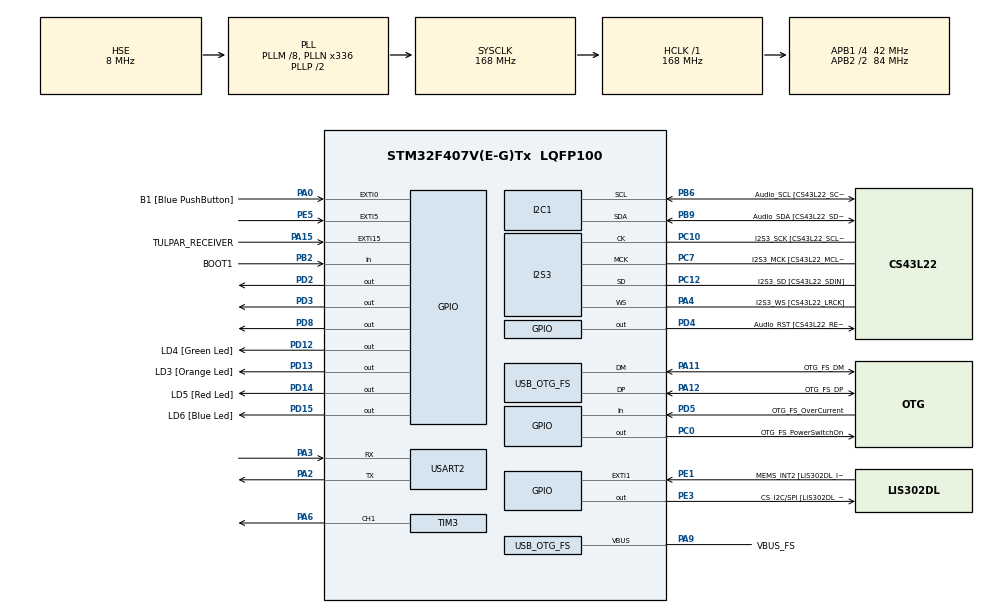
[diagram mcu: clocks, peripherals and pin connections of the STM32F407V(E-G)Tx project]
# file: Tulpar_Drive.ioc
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I2S3.AudioFreq-Half_Duplex_Master=I2S_AUDIOFREQ_96K
I2S3.ErrorAudioFreq=-2.34 %
I2S3.ErrorAudioFreq-Half_Duplex_Master=0.8 %
I2S3.FullDuplexMode=I2S_FULLDUPLEXMODE_DISABLE
I2S3.Instance=SPI$Index
I2S3.RealAudioFreq=93.75 KHz
I2S3.RealAudioFreq-Half_Duplex_Master=96.774 KHz
I2S3.VirtualMode=I2S_MODE_MASTER
Mcu.Family=STM32F4
Mcu.Name=STM32F407V(E-G)Tx
Mcu.Package=LQFP100
NVIC.EXTI15_10_IRQn=true\:0\:0\:false\:false\:true\:true\:true\:true
NVIC.EXTI9_5_IRQn=true\:0\:0\:false\:false\:true\:true\:true\:true
NVIC.OTG_FS_IRQn=true\:0\:0\:false\:false\:true\:true\:true\:true
NVIC.PriorityGroup=NVIC_PRIORITYGROUP_0
PA0-WKUP.GPIO_Label=B1 [Blue PushButton]
PA0-WKUP.GPIO_ModeDefaultEXTI=GPIO_MODE_EVT_RISING
PA0-WKUP.GPIO_PuPd=GPIO_NOPULL
PA0-WKUP.Signal=GPXTI0
PA10.GPIO_Label=OTG_FS_ID
PA10.GPIO_Mode=GPIO_MODE_AF_PP
PA10.GPIO_PuPd=GPIO_NOPULL
PA10.GPIO_Speed=GPIO_SPEED_FREQ_LOW
PA10.Signal=USB_OTG_FS_ID
PA11.GPIO_Label=OTG_FS_DM
PA11.GPIO_Mode=GPIO_MODE_AF_PP
PA11.GPIO_PuPd=GPIO_NOPULL
PA11.GPIO_Speed=GPIO_SPEED_FREQ_LOW
PA11.Mode=Host_Only
PA11.Signal=USB_OTG_FS_DM
PA12.GPIO_Label=OTG_FS_DP
PA12.GPIO_Mode=GPIO_MODE_AF_PP
PA12.GPIO_PuPd=GPIO_NOPULL
PA12.GPIO_Speed=GPIO_SPEED_FREQ_LOW
PA12.Mode=Host_Only
PA12.Signal=USB_OTG_FS_DP
PA13.GPIO_Label=SWDIO
PA13.Mode=Serial_Wire
PA13.Signal=SYS_JTMS-SWDIO
PA14.GPIO_Label=SWCLK
PA14.Mode=Serial_Wire
PA14.Signal=SYS_JTCK-SWCLK
PA15.GPIO_Label=TULPAR_RECEIVER
PA15.GPIO_ModeDefaultEXTI=GPIO_MODE_IT_RISING_FALLING
PA15.GPIO_PuPd=GPIO_PULLUP
PA15.Signal=GPXTI15
PA2.Mode=Asynchronous
PA2.Signal=USART2_TX
PA3.Mode=Asynchronous
PA3.Signal=USART2_RX
PA4.GPIO_Label=I2S3_WS [CS43L22_LRCK]
PA4.GPIO_Mode=GPIO_MODE_AF_PP
PA4.GPIO_PuPd=GPIO_NOPULL
PA4.GPIO_Speed=GPIO_SPEED_FREQ_LOW
PA4.Mode=Half_Duplex_Master
PA4.Signal=I2S3_WS
PA6.Signal=S_TIM3_CH1
PA9.GPIO_Label=VBUS_FS
PA9.GPIO_Mode=GPIO_MODE_INPUT
PA9.GPIO_PuPd=GPIO_NOPULL
PA9.Mode=Activate_VBUS
PA9.Signal=USB_OTG_FS_VBUS
PB2.GPIO_Label=BOOT1
PB2.GPIO_Mode=GPIO_MODE_INPUT
PB2.GPIO_PuPd=GPIO_NOPULL
PB2.Signal=GPIO_Input
PB3.GPIO_Label=SWO
PB3.Signal=SYS_JTDO-SWO
PB6.GPIO_Label=Audio_SCL [CS43L22_SCL]
PB6.GPIO_Mode=GPIO_MODE_AF_OD
PB6.GPIO_Pu=GPIO_PULLUP
PB6.GPIO_PuPd=GPIO_NOPULL
PB6.GPIO_Speed=GPIO_SPEED_FREQ_LOW
PB6.Mode=I2C
PB6.Signal=I2C1_SCL
PB9.GPIO_Label=Audio_SDA [CS43L22_SDA]
PB9.GPIO_Mode=GPIO_MODE_AF_OD
PB9.GPIO_Pu=GPIO_PULLUP
PB9.GPIO_PuPd=GPIO_NOPULL
PB9.GPIO_Speed=GPIO_SPEED_FREQ_LOW
PB9.Mode=I2C
PB9.Signal=I2C1_SDA
PC0.GPIO_Label=OTG_FS_PowerSwitchOn
PC0.GPIO_PuPd=GPIO_NOPULL
PC0.GPIO_Speed=GPIO_SPEED_FREQ_LOW
PC0.PinState=GPIO_PIN_SET
PC0.Signal=GPIO_Output
PC10.GPIO_Label=I2S3_SCK [CS43L22_SCLK]
PC10.GPIO_Mode=GPIO_MODE_AF_PP
PC10.GPIO_PuPd=GPIO_NOPULL
PC10.GPIO_Speed=GPIO_SPEED_FREQ_LOW
PC10.Mode=Half_Duplex_Master
PC10.Signal=I2S3_CK
PC12.GPIO_Label=I2S3_SD [CS43L22_SDIN]
PC12.GPIO_Mode=GPIO_MODE_AF_PP
PC12.GPIO_PuPd=GPIO_NOPULL
PC12.GPIO_Speed=GPIO_SPEED_FREQ_LOW
PC12.Mode=Half_Duplex_Master
PC12.Signal=I2S3_SD
PC14-OSC32_IN.GPIO_Label=PC14-OSC32_IN
PC14-OSC32_IN.Mode=LSE-External-Oscillator
PC14-OSC32_IN.Signal=RCC_OSC32_IN
PC15-OSC32_OUT.GPIO_Label=PC15-OSC32_OUT
PC15-OSC32_OUT.Mode=LSE-External-Oscillator
PC15-OSC32_OUT.Signal=RCC_OSC32_OUT
PC3.GPIO_Label=PDM_OUT [MP45DT02_DOUT]
PC3.GPIO_Mode=GPIO_MODE_AF_PP
PC3.GPIO_PuPd=GPIO_NOPULL
PC3.GPIO_Speed=GPIO_SPEED_FREQ_LOW
PC3.Signal=I2S2_SD
PC7.GPIO_Label=I2S3_MCK [CS43L22_MCLK]
PC7.GPIO_Mode=GPIO_MODE_AF_PP
PC7.GPIO_PuPd=GPIO_NOPULL
PC7.GPIO_Speed=GPIO_SPEED_FREQ_LOW
PC7.Mode=Master_Clock_Activated
PC7.Signal=I2S3_MCK
PD12.GPIO_Label=LD4 [Green Led]
PD12.GPIO_PuPd=GPIO_NOPULL
PD12.GPIO_Speed=GPIO_SPEED_FREQ_LOW
PD12.Signal=GPIO_Output
PD13.GPIO_Label=LD3 [Orange Led]
PD13.GPIO_PuPd=GPIO_NOPULL
PD13.GPIO_Speed=GPIO_SPEED_FREQ_LOW
PD13.Signal=GPIO_Output
PD14.GPIO_Label=LD5 [Red Led]
PD14.GPIO_PuPd=GPIO_NOPULL
PD14.GPIO_Speed=GPIO_SPEED_FREQ_LOW
PD14.Signal=GPIO_Output
PD15.GPIO_Label=LD6 [Blue Led]
PD15.GPIO_PuPd=GPIO_NOPULL
PD15.GPIO_Speed=GPIO_SPEED_FREQ_LOW
PD15.Signal=GPIO_Output
PD2.Signal=GPIO_Output
PD3.Signal=GPIO_Output
PD4.GPIO_Label=Audio_RST [CS43L22_RESET]
PD4.GPIO_PuPd=GPIO_NOPULL
PD4.GPIO_Speed=GPIO_SPEED_FREQ_LOW
PD4.Signal=GPIO_Output
PD5.GPIO_Label=OTG_FS_OverCurrent
PD5.GPIO_Mode=GPIO_MODE_INPUT
PD5.GPIO_PuPd=GPIO_NOPULL
PD5.Signal=GPIO_Input
PD8.Signal=GPIO_Output
PE1.GPIO_Label=MEMS_INT2 [LIS302DL_INT2]
PE1.GPIO_ModeDefaultEXTI=GPIO_MODE_EVT_RISING
PE1.GPIO_PuPd=GPIO_NOPULL
PE1.Signal=GPXTI1
PE3.GPIO_Label=CS_I2C/SPI [LIS302DL_CS_I2C/SPI]
PE3.GPIO_PuPd=GPIO_NOPULL
PE3.GPIO_Speed=GPIO_SPEED_FREQ_LOW
PE3.Signal=GPIO_Output
PE5.GPIO_ModeDefaultEXTI=GPIO_MODE_IT_RISING_FALLING
PE5.GPIO_PuPd=GPIO_PULLUP
PE5.Signal=GPXTI5
PH0-OSC_IN.GPIO_Label=PH0-OSC_IN
PH0-OSC_IN.Mode=HSE-External-Oscillator
PH0-OSC_IN.Signal=RCC_OSC_IN
PH1-OSC_OUT.GPIO_Label=PH1-OSC_OUT
PH1-OSC_OUT.Mode=HSE-External-Oscillator
PH1-OSC_OUT.Signal=RCC_OSC_OUT
ProjectManager.HeapSize=0x200
ProjectManager.StackSize=0x400
ProjectManager.TargetToolchain=STM32CubeIDE
RCC.48MHZClocksFreq_Value=48000000
RCC.AHBFreq_Value=168000000
RCC.APB1CLKDivider=RCC_HCLK_DIV4
RCC.APB1Freq_Value=42000000
RCC.APB1TimFreq_Value=84000000
RCC.APB2CLKDivider=RCC_HCLK_DIV2
RCC.APB2Freq_Value=84000000
RCC.APB2TimFreq_Value=168000000
RCC.CortexFreq_Value=168000000
RCC.HCLKFreq_Value=168000000
RCC.HSE_VALUE=8000000
RCC.HSI_VALUE=16000000
RCC.PLLM=8
RCC.PLLN=336
RCC.PLLQ=7
RCC.SYSCLKFreq_VALUE=168000000
RCC.SYSCLKSource=RCC_SYSCLKSOURCE_PLLCLK
RCC.VCOOutputFreq_Value=336000000
SH.S_TIM3_CH1.0=TIM3_CH1,PWM Generation1 CH1
TIM2.AutoReloadPreload=TIM_AUTORELOAD_PRELOAD_DISABLE
TIM3.Channel-PWM\ Generation1\ CH1=TIM_CHANNEL_1
TIM3.Period=125-1
TIM3.Prescaler=84-1
USART2.VirtualMode=VM_ASYNC
USB_HOST.BSP.number=1
USB_HOST.USBH_HandleTypeDef-CDC_FS=hUsbHostFS
USB_HOST.VirtualModeFS=Cdc
USB_HOST0.BSP.STBoard=false
USB_HOST0.BSP.api=Unknown
USB_HOST0.BSP.instance=PC0
USB_HOST0.BSP.ip=GPIO
USB_HOST0.BSP.mode=Output
USB_HOST0.BSP.name=Drive_VBUS_FS
USB_HOST0.BSP.solution=PC0
USB_OTG_FS.VirtualMode=Host_Only
USB_OTG_FS.phy_itface=HCD_PHY_EMBEDDED
VP_TIM2_VS_ClockSourceINT.Mode=Internal
VP_TIM3_VS_ClockSourceINT.Mode=Internal
VP_USB_HOST_VS_USB_HOST_CDC_FS.Mode=CDC_FS
board=STM32F407G-DISC1

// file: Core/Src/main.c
/* USER CODE BEGIN Header */
/**
  ******************************************************************************
  * @file           : main.c
  * @brief          : Main program body
  ******************************************************************************
  * @attention
  *
  * Copyright (c) 2024 STMicroelectronics.
  * All rights reserved.
  *
  * This software is licensed under terms that can be found in the LICENSE file
  * in the root directory of this software component.
  * If no LICENSE file comes with this software, it is provided AS-IS.
  *
  ******************************************************************************
  */
/* USER CODE END Header */
#include "main.h"
#include "usb_host.h"

I2C_HandleTypeDef hi2c1;

I2S_HandleTypeDef hi2s3;

TIM_HandleTypeDef htim2;
TIM_HandleTypeDef htim3;

UART_HandleTypeDef huart2;

void SystemClock_Config(void);
static void MX_GPIO_Init(void);
static void MX_I2C1_Init(void);
static void MX_I2S3_Init(void);
static void MX_USART2_UART_Init(void);
static void MX_TIM2_Init(void);
static void MX_TIM3_Init(void);
void MX_USB_HOST_Process(void);

/* USER CODE BEGIN 0 */
extern volatile uint32_t starttime;
extern volatile uint32_t endtime;
extern volatile uint32_t pulsewidth;
extern volatile uint32_t count;
extern volatile uint32_t dutycycle;
uint32_t counter = 0;
uint32_t dutycycle_rewerse=0;
uint32_t dutycycle_forward=0;
uint32_t AA=0;
uint32_t BB=0;
extern volatile uint32_t dutycyclenew;
extern volatile uint32_t dutycyclenew1;

/* USER CODE END 0 */

int main(void)
{

  /* MCU Configuration--------------------------------------------------------*/

  /* Reset of all peripherals, Initializes the Flash interface and the Systick. */
  HAL_Init();

  /* Configure the system clock */
  SystemClock_Config();

  /* Initialize all configured peripherals */
  MX_GPIO_Init();
  MX_I2C1_Init();
  MX_I2S3_Init();
  MX_USB_HOST_Init();
  MX_USART2_UART_Init();
  MX_TIM2_Init();
  MX_TIM3_Init();
  /* USER CODE BEGIN 2 */
  HAL_TIM_Base_Start(&htim2);
  HAL_TIM_PWM_Start(&htim3, TIM_CHANNEL_1);
  /* USER CODE END 2 */

  /* Infinite loop */
  while (1)
  {
    MX_USB_HOST_Process();

    /* USER CODE BEGIN 3 */

    if(dutycycle<=6298){//remote contoller's value
    HAL_GPIO_WritePin(GPIOD, GPIO_PIN_9, DISABLE); //FORWARD
	HAL_GPIO_WritePin(GPIOD, GPIO_PIN_8, ENABLE);
	__HAL_TIM_SET_COMPARE(&htim3,TIM_CHANNEL_1,dutycyclenew);//PWM start
	AA=__HAL_TIM_GET_COMPARE(&htim3,TIM_CHANNEL_1);
    }

    if(dutycycle>6298){//remote contoller's value
	HAL_GPIO_WritePin(GPIOD, GPIO_PIN_9, ENABLE);
	HAL_GPIO_WritePin(GPIOD, GPIO_PIN_8, DISABLE); //REWERSE
	__HAL_TIM_SET_COMPARE(&htim3,TIM_CHANNEL_1,dutycyclenew1);//PWM start
	BB=__HAL_TIM_GET_COMPARE(&htim3,TIM_CHANNEL_1);
    }

  }
  /* USER CODE END 3 */
}

void SystemClock_Config(void)
{
  RCC_OscInitTypeDef RCC_OscInitStruct = {0};
  RCC_ClkInitTypeDef RCC_ClkInitStruct = {0};

  /** Configure the main internal regulator output voltage
  */
  __HAL_RCC_PWR_CLK_ENABLE();
  __HAL_PWR_VOLTAGESCALING_CONFIG(PWR_REGULATOR_VOLTAGE_SCALE1);

  /** Initializes the RCC Oscillators according to the specified parameters
  * in the RCC_OscInitTypeDef structure.
  */
  RCC_OscInitStruct.OscillatorType = RCC_OSCILLATORTYPE_HSE;
  RCC_OscInitStruct.HSEState = RCC_HSE_ON;
  RCC_OscInitStruct.PLL.PLLState = RCC_PLL_ON;
  RCC_OscInitStruct.PLL.PLLSource = RCC_PLLSOURCE_HSE;
  RCC_OscInitStruct.PLL.PLLM = 8;
  RCC_OscInitStruct.PLL.PLLN = 336;
  RCC_OscInitStruct.PLL.PLLP = RCC_PLLP_DIV2;
  RCC_OscInitStruct.PLL.PLLQ = 7;
  if (HAL_RCC_OscConfig(&RCC_OscInitStruct) != HAL_OK)
  {
    Error_Handler();
  }

  /** Initializes the CPU, AHB and APB buses clocks
  */
  RCC_ClkInitStruct.ClockType = RCC_CLOCKTYPE_HCLK|RCC_CLOCKTYPE_SYSCLK
                              |RCC_CLOCKTYPE_PCLK1|RCC_CLOCKTYPE_PCLK2;
  RCC_ClkInitStruct.SYSCLKSource = RCC_SYSCLKSOURCE_PLLCLK;
  RCC_ClkInitStruct.AHBCLKDivider = RCC_SYSCLK_DIV1;
  RCC_ClkInitStruct.APB1CLKDivider = RCC_HCLK_DIV4;
  RCC_ClkInitStruct.APB2CLKDivider = RCC_HCLK_DIV2;

  if (HAL_RCC_ClockConfig(&RCC_ClkInitStruct, FLASH_LATENCY_5) != HAL_OK)
  {
    Error_Handler();
  }
}

static void MX_I2C1_Init(void)
{

  hi2c1.Instance = I2C1;
  hi2c1.Init.ClockSpeed = 100000;
  hi2c1.Init.DutyCycle = I2C_DUTYCYCLE_2;
  hi2c1.Init.OwnAddress1 = 0;
  hi2c1.Init.AddressingMode = I2C_ADDRESSINGMODE_7BIT;
  hi2c1.Init.DualAddressMode = I2C_DUALADDRESS_DISABLE;
  hi2c1.Init.OwnAddress2 = 0;
  hi2c1.Init.GeneralCallMode = I2C_GENERALCALL_DISABLE;
  hi2c1.Init.NoStretchMode = I2C_NOSTRETCH_DISABLE;
  if (HAL_I2C_Init(&hi2c1) != HAL_OK)
  {
    Error_Handler();
  }

}

static void MX_I2S3_Init(void)
{

  hi2s3.Instance = SPI3;
  hi2s3.Init.Mode = I2S_MODE_MASTER_TX;
  hi2s3.Init.Standard = I2S_STANDARD_PHILIPS;
  hi2s3.Init.DataFormat = I2S_DATAFORMAT_16B;
  hi2s3.Init.MCLKOutput = I2S_MCLKOUTPUT_ENABLE;
  hi2s3.Init.AudioFreq = I2S_AUDIOFREQ_96K;
  hi2s3.Init.CPOL = I2S_CPOL_LOW;
  hi2s3.Init.ClockSource = I2S_CLOCK_PLL;
  hi2s3.Init.FullDuplexMode = I2S_FULLDUPLEXMODE_DISABLE;
  if (HAL_I2S_Init(&hi2s3) != HAL_OK)
  {
    Error_Handler();
  }

}

static void MX_TIM2_Init(void)
{

  TIM_ClockConfigTypeDef sClockSourceConfig = {0};
  TIM_MasterConfigTypeDef sMasterConfig = {0};

  htim2.Instance = TIM2;
  htim2.Init.Prescaler = 0;
  htim2.Init.CounterMode = TIM_COUNTERMODE_UP;
  htim2.Init.Period = 4294967295;
  htim2.Init.ClockDivision = TIM_CLOCKDIVISION_DIV1;
  htim2.Init.AutoReloadPreload = TIM_AUTORELOAD_PRELOAD_DISABLE;
  if (HAL_TIM_Base_Init(&htim2) != HAL_OK)
  {
    Error_Handler();
  }
  sClockSourceConfig.ClockSource = TIM_CLOCKSOURCE_INTERNAL;
  if (HAL_TIM_ConfigClockSource(&htim2, &sClockSourceConfig) != HAL_OK)
  {
    Error_Handler();
  }
  sMasterConfig.MasterOutputTrigger = TIM_TRGO_RESET;
  sMasterConfig.MasterSlaveMode = TIM_MASTERSLAVEMODE_DISABLE;
  if (HAL_TIMEx_MasterConfigSynchronization(&htim2, &sMasterConfig) != HAL_OK)
  {
    Error_Handler();
  }

}

static void MX_TIM3_Init(void)
{

  TIM_ClockConfigTypeDef sClockSourceConfig = {0};
  TIM_MasterConfigTypeDef sMasterConfig = {0};
  TIM_OC_InitTypeDef sConfigOC = {0};

  htim3.Instance = TIM3;
  htim3.Init.Prescaler = 84-1;
  htim3.Init.CounterMode = TIM_COUNTERMODE_UP;
  htim3.Init.Period = 125-1;
  htim3.Init.ClockDivision = TIM_CLOCKDIVISION_DIV1;
  htim3.Init.AutoReloadPreload = TIM_AUTORELOAD_PRELOAD_DISABLE;
  if (HAL_TIM_Base_Init(&htim3) != HAL_OK)
  {
    Error_Handler();
  }
  sClockSourceConfig.ClockSource = TIM_CLOCKSOURCE_INTERNAL;
  if (HAL_TIM_ConfigClockSource(&htim3, &sClockSourceConfig) != HAL_OK)
  {
    Error_Handler();
  }
  if (HAL_TIM_PWM_Init(&htim3) != HAL_OK)
  {
    Error_Handler();
  }
  sMasterConfig.MasterOutputTrigger = TIM_TRGO_RESET;
  sMasterConfig.MasterSlaveMode = TIM_MASTERSLAVEMODE_DISABLE;
  if (HAL_TIMEx_MasterConfigSynchronization(&htim3, &sMasterConfig) != HAL_OK)
  {
    Error_Handler();
  }
  sConfigOC.OCMode = TIM_OCMODE_PWM1;
  sConfigOC.Pulse = 0;
  sConfigOC.OCPolarity = TIM_OCPOLARITY_HIGH;
  sConfigOC.OCFastMode = TIM_OCFAST_DISABLE;
  if (HAL_TIM_PWM_ConfigChannel(&htim3, &sConfigOC, TIM_CHANNEL_1) != HAL_OK)
  {
    Error_Handler();
  }
  HAL_TIM_MspPostInit(&htim3);

}

static void MX_USART2_UART_Init(void)
{

  huart2.Instance = USART2;
  huart2.Init.BaudRate = 115200;
  huart2.Init.WordLength = UART_WORDLENGTH_8B;
  huart2.Init.StopBits = UART_STOPBITS_1;
  huart2.Init.Parity = UART_PARITY_NONE;
  huart2.Init.Mode = UART_MODE_TX_RX;
  huart2.Init.HwFlowCtl = UART_HWCONTROL_NONE;
  huart2.Init.OverSampling = UART_OVERSAMPLING_16;
  if (HAL_UART_Init(&huart2) != HAL_OK)
  {
    Error_Handler();
  }

}

static void MX_GPIO_Init(void)
{
  GPIO_InitTypeDef GPIO_InitStruct = {0};

  /* GPIO Ports Clock Enable */
  __HAL_RCC_GPIOE_CLK_ENABLE();
  __HAL_RCC_GPIOC_CLK_ENABLE();
  __HAL_RCC_GPIOH_CLK_ENABLE();
  __HAL_RCC_GPIOA_CLK_ENABLE();
  __HAL_RCC_GPIOB_CLK_ENABLE();
  __HAL_RCC_GPIOD_CLK_ENABLE();

  /*Configure GPIO pin Output Level */
  HAL_GPIO_WritePin(CS_I2C_SPI_GPIO_Port, CS_I2C_SPI_Pin, GPIO_PIN_RESET);

  /*Configure GPIO pin Output Level */
  HAL_GPIO_WritePin(OTG_FS_PowerSwitchOn_GPIO_Port, OTG_FS_PowerSwitchOn_Pin, GPIO_PIN_SET);

  /*Configure GPIO pin Output Level */
  HAL_GPIO_WritePin(GPIOD, GPIO_PIN_8|LD4_Pin|LD3_Pin|LD5_Pin
                          |LD6_Pin|GPIO_PIN_2|GPIO_PIN_3|Audio_RST_Pin, GPIO_PIN_RESET);

  /*Configure GPIO pin : CS_I2C_SPI_Pin */
  GPIO_InitStruct.Pin = CS_I2C_SPI_Pin;
  GPIO_InitStruct.Mode = GPIO_MODE_OUTPUT_PP;
  GPIO_InitStruct.Pull = GPIO_NOPULL;
  GPIO_InitStruct.Speed = GPIO_SPEED_FREQ_LOW;
  HAL_GPIO_Init(CS_I2C_SPI_GPIO_Port, &GPIO_InitStruct);

  /*Configure GPIO pin : PE5 */
  GPIO_InitStruct.Pin = GPIO_PIN_5;
  GPIO_InitStruct.Mode = GPIO_MODE_IT_RISING_FALLING;
  GPIO_InitStruct.Pull = GPIO_PULLUP;
  HAL_GPIO_Init(GPIOE, &GPIO_InitStruct);

  /*Configure GPIO pin : OTG_FS_PowerSwitchOn_Pin */
  GPIO_InitStruct.Pin = OTG_FS_PowerSwitchOn_Pin;
  GPIO_InitStruct.Mode = GPIO_MODE_OUTPUT_PP;
  GPIO_InitStruct.Pull = GPIO_NOPULL;
  GPIO_InitStruct.Speed = GPIO_SPEED_FREQ_LOW;
  HAL_GPIO_Init(OTG_FS_PowerSwitchOn_GPIO_Port, &GPIO_InitStruct);

  /*Configure GPIO pin : PDM_OUT_Pin */
  GPIO_InitStruct.Pin = PDM_OUT_Pin;
  GPIO_InitStruct.Mode = GPIO_MODE_AF_PP;
  GPIO_InitStruct.Pull = GPIO_NOPULL;
  GPIO_InitStruct.Speed = GPIO_SPEED_FREQ_LOW;
  GPIO_InitStruct.Alternate = GPIO_AF5_SPI2;
  HAL_GPIO_Init(PDM_OUT_GPIO_Port, &GPIO_InitStruct);

  /*Configure GPIO pin : B1_Pin */
  GPIO_InitStruct.Pin = B1_Pin;
  GPIO_InitStruct.Mode = GPIO_MODE_EVT_RISING;
  GPIO_InitStruct.Pull = GPIO_NOPULL;
  HAL_GPIO_Init(B1_GPIO_Port, &GPIO_InitStruct);

  /*Configure GPIO pin : BOOT1_Pin */
  GPIO_InitStruct.Pin = BOOT1_Pin;
  GPIO_InitStruct.Mode = GPIO_MODE_INPUT;
  GPIO_InitStruct.Pull = GPIO_NOPULL;
  HAL_GPIO_Init(BOOT1_GPIO_Port, &GPIO_InitStruct);

  /*Configure GPIO pins : PD8 LD4_Pin LD3_Pin LD5_Pin
                           LD6_Pin PD2 PD3 Audio_RST_Pin */
  GPIO_InitStruct.Pin = GPIO_PIN_8|LD4_Pin|LD3_Pin|LD5_Pin
                          |LD6_Pin|GPIO_PIN_2|GPIO_PIN_3|Audio_RST_Pin;
  GPIO_InitStruct.Mode = GPIO_MODE_OUTPUT_PP;
  GPIO_InitStruct.Pull = GPIO_NOPULL;
  GPIO_InitStruct.Speed = GPIO_SPEED_FREQ_LOW;
  HAL_GPIO_Init(GPIOD, &GPIO_InitStruct);

  /*Configure GPIO pin : TULPAR_RECEIVER_Pin */
  GPIO_InitStruct.Pin = TULPAR_RECEIVER_Pin;
  GPIO_InitStruct.Mode = GPIO_MODE_IT_RISING_FALLING;
  GPIO_InitStruct.Pull = GPIO_PULLUP;
  HAL_GPIO_Init(TULPAR_RECEIVER_GPIO_Port, &GPIO_InitStruct);

  /*Configure GPIO pin : OTG_FS_OverCurrent_Pin */
  GPIO_InitStruct.Pin = OTG_FS_OverCurrent_Pin;
  GPIO_InitStruct.Mode = GPIO_MODE_INPUT;
  GPIO_InitStruct.Pull = GPIO_NOPULL;
  HAL_GPIO_Init(OTG_FS_OverCurrent_GPIO_Port, &GPIO_InitStruct);

  /*Configure GPIO pin : MEMS_INT2_Pin */
  GPIO_InitStruct.Pin = MEMS_INT2_Pin;
  GPIO_InitStruct.Mode = GPIO_MODE_EVT_RISING;
  GPIO_InitStruct.Pull = GPIO_NOPULL;
  HAL_GPIO_Init(MEMS_INT2_GPIO_Port, &GPIO_InitStruct);

  /* EXTI interrupt init*/
  HAL_NVIC_SetPriority(EXTI9_5_IRQn, 0, 0);
  HAL_NVIC_EnableIRQ(EXTI9_5_IRQn);

  HAL_NVIC_SetPriority(EXTI15_10_IRQn, 0, 0);
  HAL_NVIC_EnableIRQ(EXTI15_10_IRQn);

}

void Error_Handler(void)
{
  __disable_irq();
  while (1)
  {
  }
}
